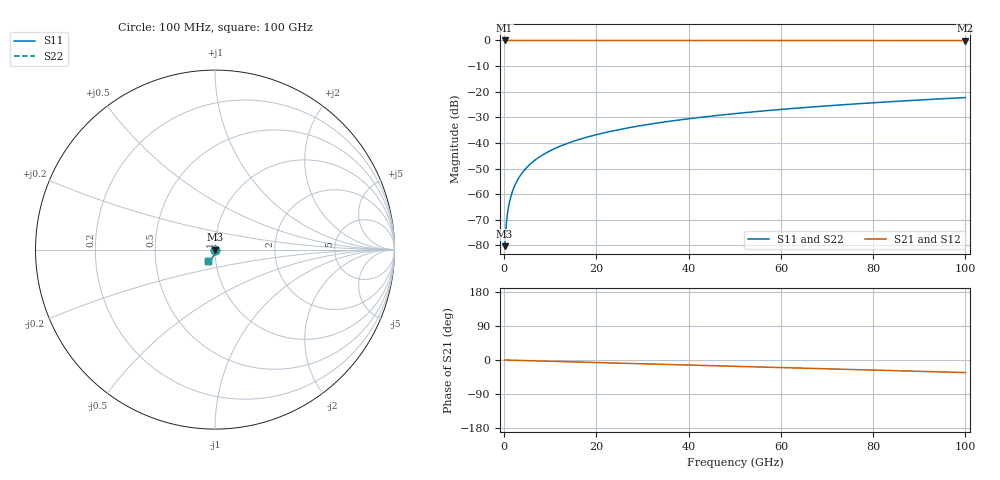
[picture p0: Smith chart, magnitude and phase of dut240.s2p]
! Touchstone file exported from HFSS 2026.1.0
!  File:  C:/ffzhzh/LocalFiles/Ansys_Project_Files/temp_train_TSV_240_1783508145_44152.aedt
!  Generated:  06:56:50 PM Jul  8, 2026
!  Design:  TSV
!  Project:  temp_train_TSV_240_1783508145_44152
! Variables:
!  h_bsmrdl = 2um
!  h_ox = 20um
!  h_rdl = 5um
!  h_sub = 65.35um
!  h_tmrdl = 5um
!  h_tsv = 65.35um
!  h_via = 3um
!  l_bsmrdl = 300um
!  l_sub = 423.34um
!  l_tmrdl = 200um
!  m_sub = 200um
!  pitch = 41.35um
!  r_tsv = 11.67um
!  s_tmrdl = 10um
!  w_bsmrdl = 18um
!  w_sub = 500um
!  w_tmrdl = 12um
!  x_tsv_center1 = 206um
!  x_tsv_center2 = 524um
!  x_tsv_center3 = 736um
!  x_tsv_center4 = 1054um
!  x_tsv_center5 = 1266um
!  x_tsv_center6 = 1584um
# GHz S MA R 50.000000
! Terminal data exported
! Port[1] = TSV1_1_T1
! Port[2] = TSV1_1_T2
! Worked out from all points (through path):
!   1000 points, 100 MHz to 100 GHz, reference 50 ohm
!   highest |S21| = 0.00 dB at 100 MHz (marker M1); lowest = 0.0 dB at 100 GHz (marker M2)
!   group delay of S21, straight-line fit = 922 fs
!   lowest |S11| = -80.3 dB at 100 MHz (marker M3), VSWR 1.00, Z = 50 - j0.00355 ohm
!   |S11| at or under -10 dB: start of sweep to end of sweep
!   |S22| runs from -80.3 to -22.3 dB; largest |S21 - S12| = 3.8e-15
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0.1  9.635e-05 -21.6  0.9999 -0.0  0.9999 -0.0  9.635e-05 -21.6
! Gamma 0 0 0 0
! Port Impedance 50 0 50 0
0.4  0.0002208 -51.4  0.9999 -0.1  0.9999 -0.1  0.0002208 -51.4
0.9  0.0005291 -66.2  0.9998 -0.3  0.9998 -0.3  0.0005291 -66.2
1.2  0.0007263 -70.5  0.9998 -0.4  0.9998 -0.4  0.0007263 -70.5
1.5  0.0009263 -73.3  0.9997 -0.5  0.9997 -0.5  0.0009263 -73.3
2  0.001265 -76.3  0.9997 -0.7  0.9997 -0.7  0.001265 -76.3
2.6  0.001679 -78.5  0.9996 -0.9  0.9996 -0.9  0.001679 -78.5
3.3  0.002171 -80.3  0.9996 -1.1  0.9996 -1.1  0.002171 -80.3
4.1  0.002742 -81.8  0.9995 -1.4  0.9995 -1.4  0.002742 -81.8
5.1  0.003462 -83.2  0.9995 -1.7  0.9995 -1.7  0.003462 -83.3
6.2  0.00426 -84.5  0.9994 -2.1  0.9994 -2.1  0.00426 -84.5
7.5  0.005208 -85.7  0.9994 -2.5  0.9994 -2.5  0.005208 -85.7
9  0.006307 -86.8  0.9993 -3.0  0.9993 -3.0  0.006307 -86.8
12.5  0.008886 -88.9  0.9991 -4.2  0.9991 -4.2  0.008886 -88.9
16.8  0.01209 -91.1  0.999 -5.6  0.999 -5.6  0.01209 -91.1
24.1  0.01757 -94.3  0.9987 -8.0  0.9987 -8.0  0.01757 -94.3
33.4  0.02459 -98.0  0.9984 -11.1  0.9984 -11.1  0.02459 -98.1
41.2  0.03052 -101.0  0.998 -13.7  0.998 -13.7  0.03052 -101.0
50.1  0.03735 -104.1  0.9976 -16.6  0.9976 -16.6  0.03735 -104.2
66.7  0.05026 -110.0  0.9968 -22.1  0.9968 -22.1  0.05026 -110.0
83.4  0.06348 -115.8  0.9958 -27.7  0.9958 -27.7  0.06347 -115.8
100  0.07674 -121.7  0.9945 -33.2  0.9945 -33.2  0.07673 -121.8
